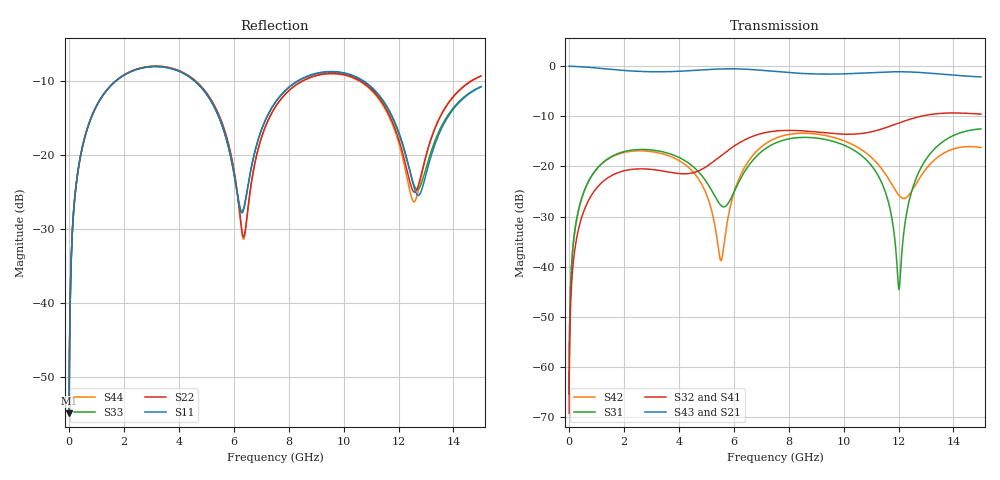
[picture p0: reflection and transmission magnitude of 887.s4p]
! Created with skrf 1.8.0 (http://scikit-rf.org).
# GHz S RI R 50.0
!freq ReS11 ImS11 ReS12 ImS12 ReS13 ImS13
! ReS14 ImS14
! ReS21 ImS21 ReS22 ImS22 ReS23 ImS23
! ReS24 ImS24
! ReS31 ImS31 ReS32 ImS32 ReS33 ImS33
! ReS34 ImS34
! ReS41 ImS41 ReS42 ImS42 ReS43 ImS43
! ReS44 ImS44
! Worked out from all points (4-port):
!   2499 points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, 5 MHz to 15 GHz, reference 50 ohm
!   strongest paths, dB at 5 MHz, 3.476 GHz, 7.19 GHz, 11.1 GHz, 15 GHz:
!     S43: 0.0, -1.1, -0.9, -1.3, -2.1
!     S21: 0.0, -1.1, -0.9, -1.3, -2.1
!     S32: -69.2, -21.0, -13.2, -13.0, -9.6
!     S41: -69.2, -21.0, -13.2, -13.0, -9.6
!     S31: -65.4, -17.2, -16.3, -20.4, -12.5
!     S42: -65.4, -17.6, -15.4, -18.7, -16.2
!   lowest |S11| = -54.9 dB at 5 MHz (marker M1), VSWR 1.00, Z = 50.1 + j0.109 ohm
!   |S11| at or under -10 dB: start of sweep to 1.698 GHz; 4.584 GHz to 8.311 GHz (3.727 GHz wide, 57.8 % of centre); 10.74 GHz to end of sweep
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0.005  0.00142 0.00109  0.9986 -0.00277  6.99e-05 0.000535  -6.81e-05 -0.00034
       0.9986 -0.00277  0.00142 0.00109  -6.81e-05 -0.00034  6.98e-05 0.000535
       6.99e-05 0.000535  -6.81e-05 -0.00034  0.00142 0.00109  0.9986 -0.00277
       -6.81e-05 -0.00034  6.98e-05 0.000535  0.9986 -0.00277  0.00142 0.00109
0.3126303  0.0189 0.0723  0.9743 -0.1734  0.00829 0.0322  -0.00679 -0.0204
           0.9743 -0.1734  0.019 0.0723  -0.0068 -0.0204  0.0079 0.0323
           0.00829 0.0322  -0.0068 -0.0204  0.0189 0.0723  0.9743 -0.1734
           -0.00679 -0.0204  0.0079 0.0323  0.9743 -0.1734  0.019 0.0723
1.569404  0.2311 0.1925  0.6298 -0.6791  0.1095 0.0632  -0.0793 -0.0187
          0.6298 -0.6791  0.2328 0.1915  -0.0794 -0.0186  0.1038 0.0695
          0.1095 0.0632  -0.0794 -0.0186  0.231 0.1925  0.6298 -0.6791
          -0.0793 -0.0187  0.1038 0.0695  0.6298 -0.6791  0.2328 0.1915
6.283868  0.0404 -0.00533  -0.9332 -0.0678  -0.0259 0.0743  -0.0101 0.1768
          -0.9332 -0.0678  0.0272 -0.0166  -0.00827 0.1769  0.0267 0.0814
          -0.0259 0.0743  -0.00827 0.1769  0.0415 -0.00556  -0.9332 -0.0681
          -0.0101 0.1768  0.0267 0.0814  -0.9332 -0.0681  0.0262 -0.0167
10.4356  0.3149 -0.1276  0.2515 0.8063  0.1096 -0.09  0.1772 -0.1107
         0.2515 0.8063  0.3086 -0.1156  0.1761 -0.115  0.0997 -0.1243
         0.1096 -0.09  0.1761 -0.115  0.3118 -0.1241  0.2517 0.8076
         0.1772 -0.1107  0.0997 -0.1243  0.2517 0.8076  0.305 -0.1168
12.01751  0.0868 -0.1122  0.7794 0.4037  0.00594 -0.000222  0.1199 -0.2432
          0.7794 0.4037  0.0845 -0.0936  0.1138 -0.2463  -0.0456 -0.024
          0.00594 -0.000222  0.1138 -0.2463  0.0891 -0.1055  0.7803 0.4035
          0.1199 -0.2432  -0.0456 -0.024  0.7803 0.4035  0.0768 -0.0915
15  0.2704 0.1018  0.4323 -0.6516  0.2229 -0.0797  -0.3055 -0.1298
    0.4323 -0.6516  0.3265 0.1021  -0.309 -0.1221  0.1527 0.0211
    0.2229 -0.0797  -0.309 -0.1221  0.2733 0.0985  0.4334 -0.6503
    -0.3055 -0.1298  0.1527 0.0211  0.4334 -0.6503  0.3254 0.1103
